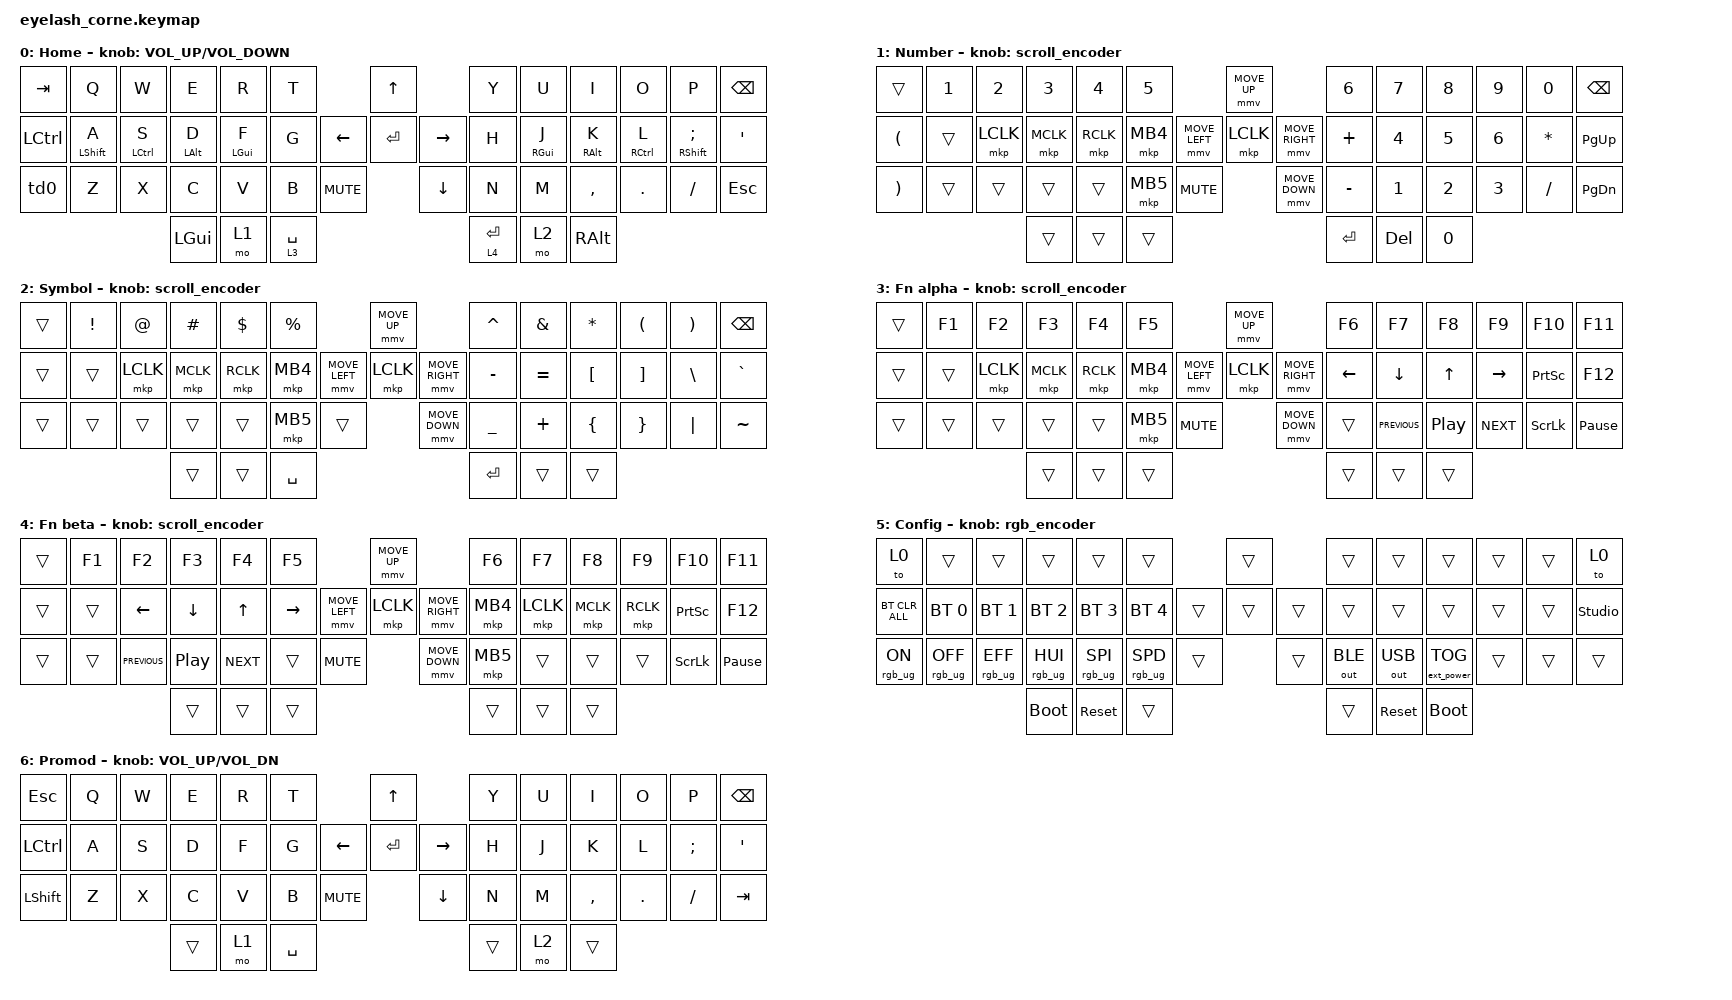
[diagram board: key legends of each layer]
#include <input/processors.dtsi>
#include <dt-bindings/zmk/mouse.h>
#include <behaviors.dtsi>
#include <dt-bindings/zmk/bt.h>
#include <dt-bindings/zmk/ext_power.h>
#include <dt-bindings/zmk/keys.h>
#include <dt-bindings/zmk/outputs.h>
#include <dt-bindings/zmk/pointing.h>
#include <dt-bindings/zmk/pointing.h>
#include <dt-bindings/zmk/pointing.h>
#include <dt-bindings/zmk/rgb.h>

/*

   &mmv_input_listener {
       input-processors = <&zip_xy_scaler 2 1>;
   };

   &msc_input_listener {
       input-processors = <&zip_xy_scaler 2 1>;
   };

 */

#define ZMK_MOUSE_DEFAULT_MOVE_VAL 1500  // 600
#define ZMK_MOUSE_DEFAULT_SCRL_VAL 20    // 10

&mt {
    flavor = "tap-preferred";
    tapping-term-ms = <210>;
};

/ {
    behaviors {
        td0: td0 {
            compatible = "zmk,behavior-tap-dance";
            display-name = "Shift/Caps Lock Tap Dance";
            #binding-cells = <0>;
            bindings = <&kp LEFT_SHIFT>, <&kp CAPS>;
        };
    };

    rgb_encoder: rgb_encoder {
        compatible = "zmk,behavior-sensor-rotate";
        #sensor-binding-cells = <0>;
        bindings = <&rgb_ug RGB_BRI>, <&rgb_ug RGB_BRD>;
    };

    scroll_encoder: scroll_encoder {
        compatible = "zmk,behavior-sensor-rotate";
        #sensor-binding-cells = <0>;
        bindings = <&msc SCRL_DOWN>, <&msc SCRL_UP>;
    };

    combos {
        compatible = "zmk,combos";

        combo_esc {
            timeout-ms = <50>;
            key-positions = <0 1>;
            bindings = <&kp ESC>;
        };

        config_layer {
            bindings = <&to 5>;
            key-positions = <5 7>;
            layers = <0>;
        };

        toggle_gaming_mode {
            bindings = <&tog 6>;
            key-positions = <41 27 12>;
        };
    };

    keymap {
        compatible = "zmk,keymap";

        default_layer {
            display-name = "Home";
            bindings = <
&kp TAB           &kp Q             &kp W               &kp E           &kp R           &kp T                                &kp UP                &kp Y        &kp U       &kp I            &kp O                &kp P                 &kp BSPC
&kp LEFT_CONTROL  &mt LEFT_SHIFT A  &mt LEFT_CONTROL S  &mt LEFT_ALT D  &mt LEFT_GUI F  &kp G                      &kp LEFT  &kp ENTER  &kp RIGHT  &kp H        &mt RGUI J  &mt RIGHT_ALT K  &mt RIGHT_CONTROL L  &mt RIGHT_SHIFT SEMI  &kp SQT
&td0              &kp Z             &kp X               &kp C           &kp V           &kp B        &kp C_MUTE              &kp DOWN              &kp N        &kp M       &kp COMMA        &kp DOT              &kp FSLH              &kp ESC
                                                        &kp LGUI        &mo 1           &lt 3 SPACE                                                &lt 4 ENTER  &mo 2       &kp RALT
            >;

            sensor-bindings = <&inc_dec_kp C_VOLUME_UP C_VOLUME_DOWN>;
        };

        lower_layer {
            display-name = "Number";
            bindings = <
&trans                 &kp N1  &kp N2     &kp N3     &kp N4     &kp N5                                  &mmv MOVE_UP                     &kp N6     &kp N7        &kp N8        &kp N9        &kp N0     &kp BSPC
&kp LEFT_PARENTHESIS   &trans  &mkp LCLK  &mkp MCLK  &mkp RCLK  &mkp MB4                &mmv MOVE_LEFT  &mkp LCLK       &mmv MOVE_RIGHT  &kp PLUS   &kp NUMBER_4  &kp N5        &kp NUMBER_6  &kp ASTRK  &kp PG_UP
&kp RIGHT_PARENTHESIS  &trans  &trans     &trans     &trans     &mkp MB5  &kp C_MUTE                    &mmv MOVE_DOWN                   &kp MINUS  &kp NUMBER_1  &kp NUMBER_2  &kp NUMBER_3  &kp SLASH  &kp PG_DN
                                          &trans     &trans     &trans                                                                   &kp ENTER  &kp DEL       &kp N0
            >;

            sensor-bindings = <&scroll_encoder>;
        };

        raise_layer {
            display-name = "Symbol";
            bindings = <
&trans  &kp EXCL  &kp AT     &kp HASH   &kp DLLR   &kp PRCNT                            &mmv MOVE_UP                     &kp CARET  &kp AMPS   &kp ASTRK  &kp LPAR  &kp RPAR  &kp BSPC
&trans  &trans    &mkp LCLK  &mkp MCLK  &mkp RCLK  &mkp MB4             &mmv MOVE_LEFT  &mkp LCLK       &mmv MOVE_RIGHT  &kp MINUS  &kp EQUAL  &kp LBKT   &kp RBKT  &kp BSLH  &kp GRAVE
&trans  &trans    &trans     &trans     &trans     &mkp MB5   &trans                    &mmv MOVE_DOWN                   &kp UNDER  &kp PLUS   &kp LBRC   &kp RBRC  &kp PIPE  &kp TILDE
                             &trans     &trans     &kp SPACE                                                             &kp RET    &trans     &trans
            >;

            sensor-bindings = <&scroll_encoder>;
        };

        layer_3 {
            display-name = "Fn alpha";
            bindings = <
&trans  &kp F1  &kp F2     &kp F3     &kp F4     &kp F5                                  &mmv MOVE_UP                     &kp F6          &kp F7          &kp F8            &kp F9           &kp F10          &kp F11
&trans  &trans  &mkp LCLK  &mkp MCLK  &mkp RCLK  &mkp MB4                &mmv MOVE_LEFT  &mkp LCLK       &mmv MOVE_RIGHT  &kp LEFT_ARROW  &kp DOWN_ARROW  &kp UP_ARROW      &kp RIGHT_ARROW  &kp PRINTSCREEN  &kp F12
&trans  &trans  &trans     &trans     &trans     &mkp MB5  &kp C_MUTE                    &mmv MOVE_DOWN                   &trans          &kp C_PREVIOUS  &kp C_PLAY_PAUSE  &kp C_NEXT       &kp SCROLLLOCK   &kp PAUSE_BREAK
                           &trans     &trans     &trans                                                                   &trans          &trans          &trans
            >;

            sensor-bindings = <&scroll_encoder>;
        };

        layer_4 {
            display-name = "Fn beta";
            bindings = <
&trans  &kp F1  &kp F2          &kp F3          &kp F4        &kp F5                                         &mmv MOVE_UP                     &kp F6    &kp F7     &kp F8     &kp F9     &kp F10          &kp F11
&trans  &trans  &kp LEFT_ARROW  &kp DOWN_ARROW  &kp UP_ARROW  &kp RIGHT_ARROW                &mmv MOVE_LEFT  &mkp LCLK       &mmv MOVE_RIGHT  &mkp MB4  &mkp LCLK  &mkp MCLK  &mkp RCLK  &kp PRINTSCREEN  &kp F12
&trans  &trans  &kp C_PREVIOUS  &kp C_PP        &kp C_NEXT    &trans           &kp C_MUTE                    &mmv MOVE_DOWN                   &mkp MB5  &trans     &trans     &trans     &kp SCROLLLOCK   &kp PAUSE_BREAK
                                &trans          &trans        &trans                                                                          &trans    &trans     &trans
            >;

            sensor-bindings = <&scroll_encoder>;
        };

        config {
            bindings = <
&to 0           &trans           &trans           &trans           &trans           &trans                             &trans          &trans        &trans        &trans             &trans  &trans  &to 0
&bt BT_CLR_ALL  &bt BT_SEL 0     &bt BT_SEL 1     &bt BT_SEL 2     &bt BT_SEL 3     &bt BT_SEL 4               &trans  &trans  &trans  &trans        &trans        &trans             &trans  &trans  &studio_unlock
&rgb_ug RGB_ON  &rgb_ug RGB_OFF  &rgb_ug RGB_EFF  &rgb_ug RGB_HUI  &rgb_ug RGB_SPI  &rgb_ug RGB_SPD  &trans            &trans          &out OUT_BLE  &out OUT_USB  &ext_power EP_TOG  &trans  &trans  &trans
                                                  &bootloader      &sys_reset       &trans                                             &trans        &sys_reset    &bootloader
            >;

            sensor-bindings = <&rgb_encoder>;
            label = "Config";
        };

        Promod {
            bindings = <
&kp ESC    &kp Q  &kp W  &kp E   &kp R  &kp T                              &kp UP               &kp Y   &kp U  &kp I      &kp O    &kp P     &kp BSPC
&kp LCTRL  &kp A  &kp S  &kp D   &kp F  &kp G                    &kp LEFT  &kp RET   &kp RIGHT  &kp H   &kp J  &kp K      &kp L    &kp SEMI  &kp APOS
&kp LSHFT  &kp Z  &kp X  &kp C   &kp V  &kp B      &kp K_MUTE              &kp DOWN             &kp N   &kp M  &kp COMMA  &kp DOT  &kp FSLH  &kp TAB
                         &trans  &mo 1  &kp SPACE                                               &trans  &mo 2  &trans
            >;

            sensor-bindings = <&inc_dec_kp C_VOLUME_UP C_VOL_DN>;
            label = "Promod";
        };
    };
};
